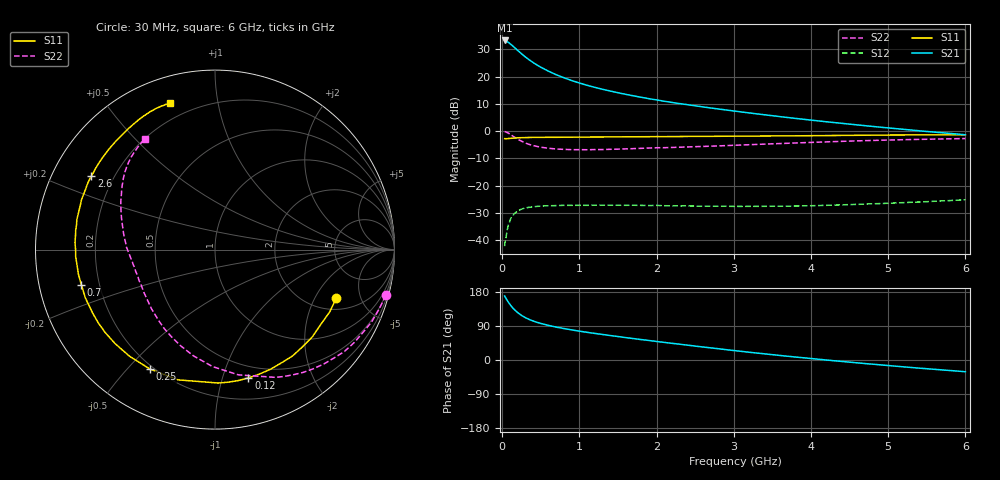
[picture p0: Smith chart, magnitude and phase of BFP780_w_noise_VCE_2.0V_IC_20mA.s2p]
! Infineon Technologies  Discrete & RF Semiconductors
! BFP780
! VCE =  2.0 V,  IC =  20 mA
! Common Emitter S-Parameters:  Jul 2015
# GHz  S  MA  R  50
!  f  S11  S21  S12  S22
! GHz  MAG  ANG  MAG  ANG  MAG  ANG  MAG  ANG
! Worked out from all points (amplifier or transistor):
!   75 points, 30 MHz to 6 GHz, reference 50 ohm
!   highest |S21| = 33.3 dB at 30 MHz (marker M1)
!   |S21| within 3 dB of that: start of sweep to 173.9 MHz
!   unconditionally stable (mu >= 1): 2.408 GHz to end of sweep
!   at 150 MHz: K = 0.07, MSG = 30.7 dB, |S12| = -30.5 dB
!   at 2.3 GHz: K = 0.97, MSG = 18.8 dB, |S12| = -27.5 dB
!   at 6 GHz: K = 1.53, MAG = 7.6 dB, |S12| = -25.2 dB
!   lowest NFmin = 0.94 dB at 450 MHz
!   S11 on the Smith chart (normalised r, x): 30 MHz: 2.65, -3.04; 120 MHz: 0.39, -1.22; 250 MHz: 0.18, -0.58; 700 MHz: 0.13, -0.13; 2.6 GHz: 0.12, +0.27; 6 GHz: 0.12, +0.73
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0.03  0.7281 -21.7  46.32 169.1  0.0077 75.4  0.9854 -15.0
0.05  0.722 -35.4  45.27 161.8  0.0113 70.2  0.9609 -24.8
0.08  0.7333 -54.0  42.62 152.2  0.0194 67.5  0.9177 -38.2
0.09  0.7315 -59.7  41.53 149.2  0.0205 59.1  0.8971 -42.3
0.12  0.7388 -75.4  38.32 141.2  0.0261 54.8  0.8423 -54.3
0.15  0.7436 -88.6  35.2 134.3  0.0299 48.5  0.7881 -64.6
0.2  0.7544 -105.8  30.34 124.9  0.0343 39.1  0.7101 -79.4
0.25  0.7578 -118.7  26.34 117.5  0.037 33.4  0.6519 -91.2
0.3  0.7614 -128.7  23 111.6  0.0389 28.4  0.6044 -101.4
0.35  0.7643 -136.7  20.35 106.8  0.0399 24.7  0.5689 -109.7
0.4  0.7666 -142.9  18.17 102.9  0.0408 21.9  0.5428 -116.6
0.5  0.768 -152.6  14.91 96.4  0.042 17.3  0.5059 -128.0
0.7  0.77 -165.3  10.86 86.7  0.0429 12.2  0.4693 -143.6
0.9  0.7736 -173.7  8.49 79.4  0.0433 9.3  0.4564 -154.0
1.1  0.777 179.8  6.941 73.0  0.0434 6.9  0.4551 -161.7
1.5  0.7836 169.9  5.067 61.9  0.0435 4.1  0.4665 -172.2
2.1  0.794 158.1  3.538 46.4  0.0426 1.3  0.4963 176.7
2.6  0.8013 149.4  2.785 34.3  0.0418 1.5  0.5232 168.1
3.1  0.8088 141.3  2.247 22.8  0.0414 2.2  0.556 159.9
4.1  0.8266 126.8  1.539 1.9  0.0429 5.7  0.6274 145.6
5.1  0.8491 115.2  1.112 -16.4  0.048 7.8  0.6906 133.1
6  0.8543 106.9  0.858 -31.0  0.055 6.7  0.7311 122.2
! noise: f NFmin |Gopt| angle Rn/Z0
0.45  0.94  0.15  144  0.07
0.9  1  0.21  161  0.09
1.5  1.11  0.31  175  0.06
1.8  1.3  0.38  -175  0.07
2.4  1.47  0.43  -159  0.08
3  1.8  0.48  -146  0.12
3.5  2.39  0.54  -130  0.2
